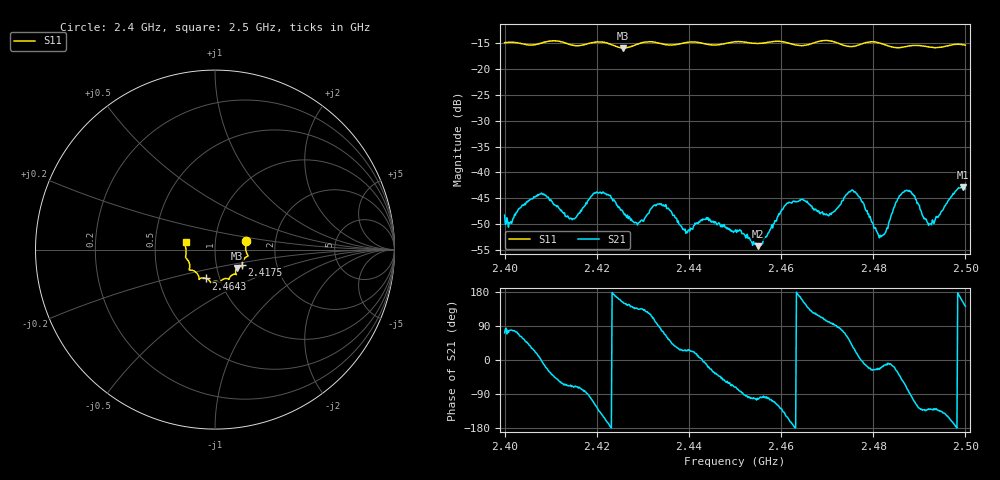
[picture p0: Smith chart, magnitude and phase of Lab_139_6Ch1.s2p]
# Hz S RI R 50
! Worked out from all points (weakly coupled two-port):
!   601 points, 2.4 GHz to 2.5 GHz, reference 50 ohm
!   highest |S21| = -42.83 dB at 2.4995 GHz (marker M1); lowest = -54.2 dB at 2.455 GHz (marker M2)
!   lowest |S11| = -15.9 dB at 2.4257 GHz (marker M3), VSWR 1.38, Z = 62.5 - j13 ohm
!   |S11| at or under -10 dB: start of sweep to end of sweep
!   S12 and S22 are empty: the file has one direction only
!   S11 on the Smith chart (normalised r, x): 2.4 GHz: 1.41, +0.14; 2.4175 GHz: 1.33, -0.23; 2.4643 GHz: 0.86, -0.29; 2.5 GHz: 0.72, +0.06
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2.4e9  0.1725 0.0487  0.00121 0.00368  0 0  0 0
2.408e9  0.1771 -0.0206  0.00632 -0.000111  0 0  0 0
2.414333e9  0.1643 -0.0489  0.00145 -0.00332  0 0  0 0
2.416667e9  0.1523 -0.0739  0.00095 -0.00413  0 0  0 0
2.4175e9  0.1513 -0.0835  0.000494 -0.0048  0 0  0 0
2.421167e9  0.1541 -0.0971  -0.00519 -0.00363  0 0  0 0
2.425667e9  0.123 -0.1016  -0.00372 0.00191  0 0  0 0
2.428833e9  0.1148 -0.1305  -0.00222 0.00217  0 0  0 0
2.433333e9  0.1136 -0.1373  -3.98e-05 0.00497  0 0  0 0
2.439167e9  0.0796 -0.1606  0.00254 0.00128  0 0  0 0
2.45e9  0.0285 -0.1814  0.000856 -0.00259  0 0  0 0
2.455e9  0.00217 -0.1766  -0.00047 -0.00188  0 0  0 0
2.464333e9  -0.0497 -0.1608  -0.00523 0.00169  0 0  0 0
2.466667e9  -0.0762 -0.1587  -0.00293 0.00373  0 0  0 0
2.4705e9  -0.0886 -0.1652  -0.00071 0.00386  0 0  0 0
2.475667e9  -0.1128 -0.1209  0.00565 0.00356  0 0  0 0
2.481333e9  -0.1428 -0.1074  0.00212 -0.000981  0 0  0 0
2.483333e9  -0.1406 -0.0899  0.00318 -0.00053  0 0  0 0
2.486833e9  -0.1541 -0.0556  0.00294 -0.00596  0 0  0 0
2.492167e9  -0.1614 -0.0238  -0.00206 -0.00242  0 0  0 0
2.4995e9  -0.1668 0.0404  -0.00641 0.00333  0 0  0 0
2.5e9  -0.1643 0.0432  -0.00548 0.00429  0 0  0 0
